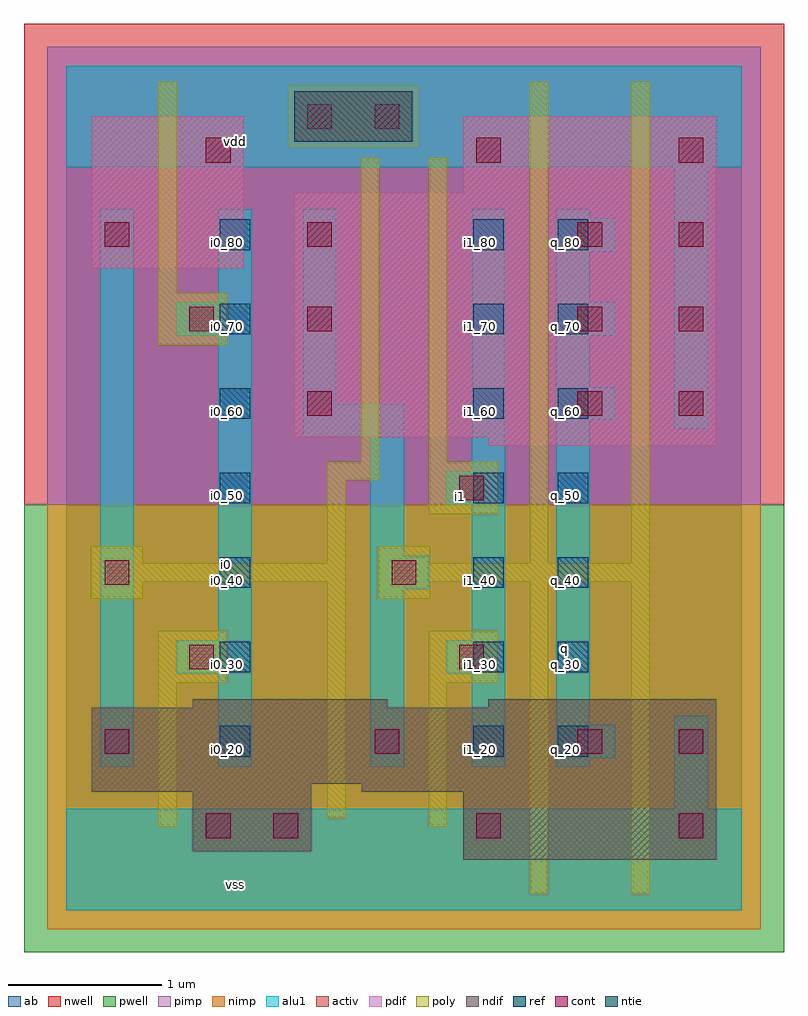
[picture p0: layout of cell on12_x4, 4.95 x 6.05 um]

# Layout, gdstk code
import gdstk
lib = gdstk.Library(unit=1e-6, precision=2.5e-09)
def R(c, l, rs):  # rectangles x0, y0, x1, y1
    for r in rs: c.add(gdstk.rectangle(r[:2], r[2:], *l))
def A(c, l, x, y, w, h, nx, ny, dx, dy):  # array of equal rectangles
    R(c, l, [(x+i*dx, y+j*dy, x+i*dx+w, y+j*dy+h) for i in range(nx) for j in range(ny)])
ndif = (3, 0)
pdif = (4, 0)
ntie = (5, 0)
ref = (24, 0)
cont = (25, 0)
pwell = (41, 0)
nwell = (42, 0)
activ = (43, 0)
pimp = (44, 0)
nimp = (45, 0)
poly = (46, 0)
alu1 = (49, 0)
ab = (63, 0)

on12_x4 = lib.new_cell('on12_x4')
R(on12_x4, ndif, [(2.585,0.33,4.235,0.77), (0.825,0.385,1.595,0.77), (0.165,0.77,1.595,0.825), (1.925,0.77,4.235,0.825), (0.165,0.825,4.235,1.32), (0.825,1.32,2.09,1.375), (2.75,1.32,4.235,1.375)])
R(on12_x4, pdif, [(2.75,3.025,4.235,3.08), (1.485,3.08,4.235,4.675), (0.165,4.18,1.155,5.17), (2.585,4.675,4.235,5.17)])
R(on12_x4, ntie, [(1.485,5.005,2.255,5.335)])
A(on12_x4, ref, 1, 1, 0.2, 0.2, 1, 7, 0, 0.55)
A(on12_x4, ref, 2.65, 1, 0.2, 0.2, 1, 7, 0, 0.55)
A(on12_x4, ref, 3.2, 1, 0.2, 0.2, 1, 7, 0, 0.55)
A(on12_x4, cont, 1.35, 0.47, 0.16, 0.16, 3, 1, 1.32, 0)
A(on12_x4, cont, 1.57, 3.22, 0.16, 0.16, 1, 3, 0, 0.55)
A(on12_x4, cont, 3.33, 3.22, 0.16, 0.16, 1, 3, 0, 0.55)
A(on12_x4, cont, 3.99, 3.22, 0.16, 0.16, 1, 4, 0, 0.55)
R(on12_x4, cont, [(0.91,0.47,1.07,0.63), (0.25,1.02,0.41,1.18), (2.01,1.02,2.17,1.18), (3.33,1.02,3.49,1.18), (3.99,1.02,4.15,1.18), (0.8,1.57,0.96,1.73), (2.56,1.57,2.72,1.73), (0.25,2.12,0.41,2.28), (2.12,2.12,2.28,2.28), (2.56,2.67,2.72,2.83), (0.8,3.77,0.96,3.93), (0.25,4.32,0.41,4.48), (0.91,4.87,1.07,5.03), (2.67,4.87,2.83,5.03), (1.57,5.09,1.73,5.25), (2.01,5.09,2.17,5.25)])
R(on12_x4, pwell, [(-0.275,-0.275,4.675,2.64)])
R(on12_x4, nwell, [(-0.275,2.64,4.675,5.775)])
R(on12_x4, activ, [(2.585,0.33,4.235,0.77), (0.825,0.385,1.595,0.77), (0.165,0.77,1.595,0.825), (1.925,0.77,4.235,0.825), (0.165,0.825,4.235,1.32), (0.825,1.32,2.09,1.375), (2.75,1.32,4.235,1.375), (2.75,3.025,4.235,3.08), (1.485,3.08,4.235,4.675), (0.165,4.18,1.155,5.17), (2.585,4.675,4.235,5.17), (1.485,5.005,2.255,5.335)])
R(on12_x4, pimp, [(-0.125,2.64,4.525,4.965), (-0.125,4.965,1.445,5.375), (2.295,4.965,4.525,5.375), (-0.125,5.375,4.525,5.625)])
R(on12_x4, nimp, [(-0.125,-0.125,4.525,2.64), (1.445,4.965,2.295,5.375)])
R(on12_x4, poly, [(3.02,0.105,3.14,2.14), (3.68,0.105,3.8,2.14), (0.6,0.545,0.72,1.48), (2.36,0.545,2.48,1.48), (1.7,0.6,1.82,2.14), (0.6,1.48,1.05,1.82), (2.36,1.48,2.81,1.82), (0.16,2.03,0.5,2.14), (2.03,2.03,2.37,2.14), (0.16,2.14,1.82,2.26), (2.03,2.14,3.8,2.26), (0.16,2.26,0.5,2.37), (1.7,2.26,1.82,2.8), (2.03,2.26,2.37,2.37), (3.02,2.26,3.14,5.395), (3.68,2.26,3.8,5.395), (2.36,2.58,2.81,2.92), (1.7,2.8,2.04,2.92), (1.92,2.92,2.04,4.9), (2.36,2.92,2.48,4.9), (0.6,3.68,1.05,4.02), (0.6,4.02,0.72,5.395)])
A(on12_x4, alu1, 3.19, 3.19, 0.385, 0.22, 1, 3, 0, 0.55)
R(on12_x4, alu1, [(0,0,4.4,0.66), (3.96,0.66,4.18,1.265), (0.22,0.935,0.44,4.565), (0.99,0.935,1.21,1.54), (1.98,0.935,2.2,2.09), (2.64,0.935,2.86,1.54), (3.19,0.935,3.41,0.99), (3.19,0.99,3.575,1.21), (3.19,1.21,3.41,3.19), (0.715,1.54,1.21,1.76), (2.475,1.54,2.86,1.76), (0.99,1.76,1.21,3.74), (2.64,1.76,2.86,2.64), (1.98,2.09,2.365,2.31), (1.98,2.31,2.2,3.08), (2.475,2.64,2.86,2.86), (2.64,2.86,2.86,4.565), (1.54,3.08,2.2,3.3), (3.96,3.135,4.18,4.84), (1.54,3.3,1.76,4.565), (3.19,3.41,3.41,3.74), (0.715,3.74,1.21,3.96), (0.99,3.96,1.21,4.565), (3.19,3.96,3.41,4.29), (3.19,4.51,3.41,4.565), (0,4.84,4.4,5.5)])
R(on12_x4, ab, [(0,0,4.4,5.5)])
on12_x4.add(gdstk.Label('vss', (1.1,0.165), layer=49, texttype=0))
on12_x4.add(gdstk.Label('q', (3.245,1.705), layer=49, texttype=0))
on12_x4.add(gdstk.Label('i1', (2.57,2.695), layer=49, texttype=0))
on12_x4.add(gdstk.Label('i0', (1.045,2.255), layer=49, texttype=0))
on12_x4.add(gdstk.Label('vdd', (1.1,5.005), layer=49, texttype=0))
on12_x4.add(gdstk.Label('i0_20', (1.05,1.05), layer=24, texttype=0))
on12_x4.add(gdstk.Label('i0_80', (1.05,4.35), layer=24, texttype=0))
on12_x4.add(gdstk.Label('i0_60', (1.05,3.25), layer=24, texttype=0))
on12_x4.add(gdstk.Label('i0_70', (1.05,3.8), layer=24, texttype=0))
on12_x4.add(gdstk.Label('i0_30', (1.05,1.6), layer=24, texttype=0))
on12_x4.add(gdstk.Label('i0_40', (1.05,2.15), layer=24, texttype=0))
on12_x4.add(gdstk.Label('i0_50', (1.05,2.7), layer=24, texttype=0))
on12_x4.add(gdstk.Label('q_20', (3.25,1.05), layer=24, texttype=0))
on12_x4.add(gdstk.Label('i1_20', (2.7,1.05), layer=24, texttype=0))
on12_x4.add(gdstk.Label('i1_30', (2.7,1.6), layer=24, texttype=0))
on12_x4.add(gdstk.Label('i1_80', (2.7,4.35), layer=24, texttype=0))
on12_x4.add(gdstk.Label('i1_70', (2.7,3.8), layer=24, texttype=0))
on12_x4.add(gdstk.Label('i1_60', (2.7,3.25), layer=24, texttype=0))
on12_x4.add(gdstk.Label('i1_50', (2.7,2.7), layer=24, texttype=0))
on12_x4.add(gdstk.Label('q_80', (3.25,4.35), layer=24, texttype=0))
on12_x4.add(gdstk.Label('q_70', (3.25,3.8), layer=24, texttype=0))
on12_x4.add(gdstk.Label('q_60', (3.25,3.25), layer=24, texttype=0))
on12_x4.add(gdstk.Label('q_50', (3.25,2.7), layer=24, texttype=0))
on12_x4.add(gdstk.Label('q_40', (3.25,2.15), layer=24, texttype=0))
on12_x4.add(gdstk.Label('q_30', (3.25,1.6), layer=24, texttype=0))
on12_x4.add(gdstk.Label('i1_40', (2.7,2.15), layer=24, texttype=0))

lib.write_gds('on12_x4.gds')
